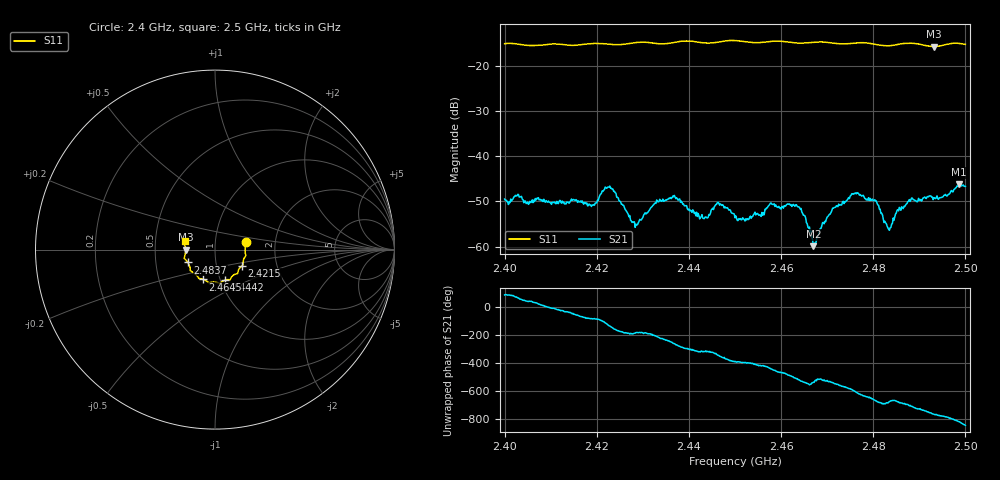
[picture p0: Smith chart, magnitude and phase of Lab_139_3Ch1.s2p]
# Hz S RI R 50
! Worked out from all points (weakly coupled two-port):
!   601 points, 2.4 GHz to 2.5 GHz, reference 50 ohm
!   highest |S21| = -46.21 dB at 2.4987 GHz (marker M1); lowest = -59.9 dB at 2.467 GHz (marker M2)
!   lowest |S11| = -15.7 dB at 2.4932 GHz (marker M3), VSWR 1.39, Z = 36 - j0.0571 ohm
!   |S11| at or under -10 dB: start of sweep to end of sweep
!   S12 and S22 are empty: the file has one direction only
!   S11 on the Smith chart (normalised r, x): 2.4 GHz: 1.41, +0.12; 2.4215 GHz: 1.33, -0.25; 2.4442 GHz: 1.05, -0.37; 2.4645 GHz: 0.83, -0.29; 2.4837 GHz: 0.73, -0.11; 2.5 GHz: 0.71, +0.07
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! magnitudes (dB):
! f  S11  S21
! 2.4 GHz  -15.1  -49.5
! 2.4167 GHz  -15.3  -50.2
! 2.4193 GHz  -15.1  -50.7
! 2.4215 GHz  -15.1  -47.5
! 2.4233 GHz  -15.3  -47.3
! 2.4285 GHz  -14.9  -55.0
! 2.4333 GHz  -15.1  -50.1
! 2.4442 GHz  -15.0  -53.6
! 2.4463 GHz  -14.8  -50.2
! 2.45 GHz  -14.4  -53.6
! 2.458 GHz  -14.6  -50.6
! 2.4645 GHz  -15.0  -52.3
! 2.4667 GHz  -14.8  -57.9
! 2.467 GHz  -14.8  -59.9
! 2.476 GHz  -15.0  -48.3
! 2.4807 GHz  -15.3  -49.9
! 2.4833 GHz  -15.6  -56.2
! 2.4837 GHz  -15.5  -55.9
! 2.488 GHz  -15.0  -50.0
! 2.4932 GHz  -15.7  -49.2
! 2.4987 GHz  -15.0  -46.2
! 2.5 GHz  -15.3  -46.7
